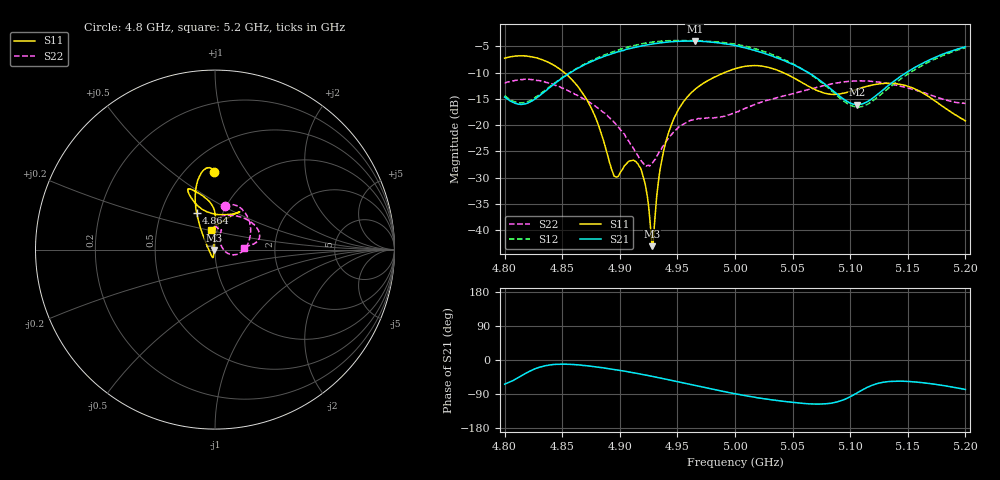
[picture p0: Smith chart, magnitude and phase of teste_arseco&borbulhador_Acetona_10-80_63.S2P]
! Network Analyzer HP8722D
! Hewlett-Packard
! Data name: Linha & Wilkinson
! Saver's name: Rodrigo Anjos
! Comments: Teste da utilização de aquisição
! continua pelo VNA HP8722D
! Time and date: 25/4/2025 15:47
!  Frequency  S11  S21  S12  S22
# HZ  S  MA R 50
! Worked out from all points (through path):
!   401 points, 4.8 GHz to 5.2 GHz, reference 50 ohm
!   highest |S21| = -3.97 dB at 4.965 GHz (marker M1); lowest = -16.1 dB at 5.106 GHz (marker M2)
!   lowest |S11| = -43.1 dB at 4.928 GHz (marker M3), VSWR 1.01, Z = 49.3 - j0.138 ohm
!   |S11| at or under -10 dB: 4.852 GHz to 4.991 GHz (138.8 MHz wide, 2.82 % of centre); 5.042 GHz to end of sweep
!   |S22| runs from -27.8 to -11.3 dB; largest |S21 - S12| = 1.2
!   S11 on the Smith chart (normalised r, x): 4.8 GHz: 0.68, +0.73; 4.864 GHz: 0.75, +0.33; 5.2 GHz: 0.94, +0.21
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4.8e9  0.434 90.5  0.1854 -63.8  0.1907 69.8  0.2502 77.3
4.82e9  0.4524 96.8  0.1621 -32.3  0.1676 98.5  0.2724 61.5
4.864e9  0.2304 116.5  0.3512 -12.9  0.3544 120.9  0.1895 11.8
4.867e9  0.2071 118.2  0.3647 -14.0  0.3689 120.7  0.182 8.6
4.88e9  0.1104 128.5  0.4243 -18.5  0.4345 118.3  0.1479 -5.5
4.895e9  0.03264 -171.5  0.4864 -25.2  0.5027 113.7  0.1063 -16.2
4.91e9  0.04579 -106.1  0.5406 -32.6  0.5662 107.0  0.06399 -14.4
4.917e9  0.04015 -102.6  0.5629 -36.5  0.5892 103.3  0.04831 -1.8
4.922e9  0.02753 -106.0  0.5772 -39.4  0.6041 100.6  0.04228 16.2
4.928e9  0.007007 -168.5  0.5929 -43.0  0.6181 96.9  0.04324 41.4
4.93e9  0.01105 125.1  0.597 -44.3  0.6216 95.6  0.04622 48.6
4.934e9  0.03195 99.9  0.6058 -46.9  0.6294 93.1  0.05511 58.3
4.939e9  0.06289 92.9  0.6151 -49.9  0.6356 89.8  0.06665 66.0
4.946e9  0.1088 89.7  0.6246 -54.6  0.6395 85.5  0.08418 70.3
4.965e9  0.2175 90.8  0.6332 -67.1  0.6387 73.4  0.1136 72.0
5e9  0.3445 109.0  0.5744 -89.1  0.5926 50.7  0.1317 88.4
5.03e9  0.3527 115.0  0.4638 -104.2  0.4816 33.8  0.174 85.5
5.067e9  0.2252 105.0  0.3014 -115.9  0.2977 23.6  0.2226 57.1
5.106e9  0.2189 64.3  0.1563 -86.8  0.1486 56.2  0.2631 24.8
5.134e9  0.2499 56.8  0.2419 -56.6  0.2277 88.7  0.248 12.3
5.169e9  0.1842 69.6  0.4195 -62.1  0.4032 84.8  0.1943 6.8
5.2e9  0.1096 100.3  0.5568 -77.8  0.5463 70.0  0.1608 3.8
